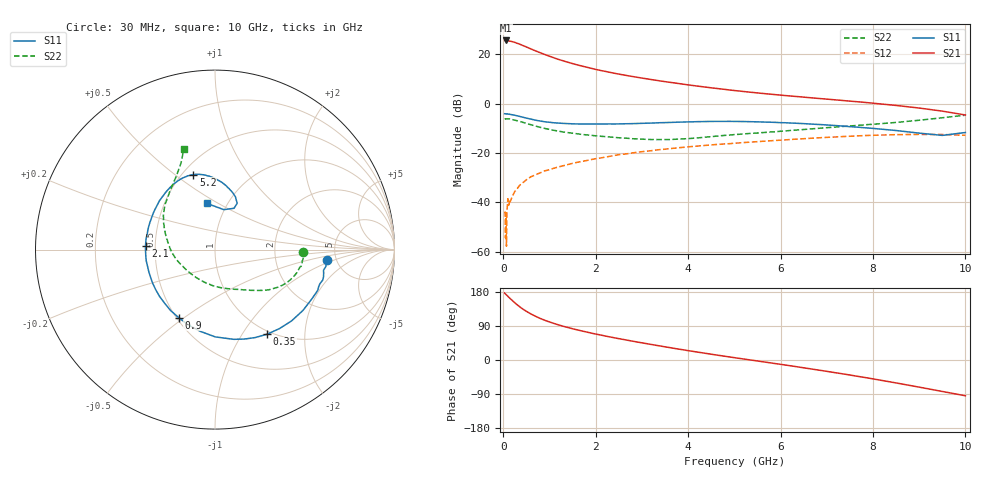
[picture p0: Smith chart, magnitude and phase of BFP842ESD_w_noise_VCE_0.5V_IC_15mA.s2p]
! Infineon Technologies  Discrete & RF Semiconductors
! BFP842ESD
! VCE =  0.5 V,  IC =  15 mA
! Common Emitter S-Parameters:  May 2012
# GHz  S  MA  R  50
!  f  S11  S21  S12  S22
! GHz  MAG  ANG  MAG  ANG  MAG  ANG  MAG  ANG
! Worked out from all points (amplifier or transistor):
!   99 points, 30 MHz to 10 GHz, reference 50 ohm
!   highest |S21| = 25.6 dB at 60 MHz (marker M1)
!   |S21| within 3 dB of that: start of sweep to 546.2 MHz
!   unconditionally stable (mu >= 1): start of sweep to 278.4 MHz; 1.029 GHz to end of sweep
!   at 350 MHz: K = 0.91, MSG = 28.7 dB, |S12| = -33.2 dB
!   at 3.5 GHz: K = 1.31, MAG = 10.3 dB, |S12| = -18.4 dB
!   at 10 GHz: K = 2.21, MAG = -2.1 dB, |S12| = -12.8 dB
!   lowest NFmin = 0.71 dB at 450 MHz
!   S11 on the Smith chart (normalised r, x): 30 MHz: 4.18, -0.81; 350 MHz: 0.96, -1.30; 900 MHz: 0.51, -0.48; 2.1 GHz: 0.44, +0.02; 5.2 GHz: 0.57, +0.58; 10 GHz: 0.81, +0.44
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0.03  0.6257 -5.4  19.02 176.8  0.0062 26.4  0.4914 -1.3
0.05  0.6247 -8.7  18.81 174.1  0.0019 34.0  0.4879 -3.6
0.06  0.6154 -10.8  19.07 172.8  0.0061 6.3  0.4939 -4.7
0.07  0.6193 -12.2  18.86 171.9  0.0013 24.7  0.4933 -4.4
0.08  0.6235 -14.1  18.88 170.4  0.0066 54.9  0.4936 -5.5
0.1  0.6146 -18.0  18.74 168.4  0.0119 63.9  0.4901 -7.4
0.2  0.5958 -34.7  17.99 156.6  0.0135 61.5  0.4747 -15.5
0.25  0.5828 -43.0  17.46 151.1  0.0166 56.2  0.4639 -18.8
0.35  0.5537 -58.3  16.14 141.1  0.0219 60.4  0.4393 -25.1
0.5  0.5107 -78.2  14.11 128.5  0.0287 57.9  0.3977 -32.6
0.6  0.4864 -89.8  12.83 121.5  0.0331 56.2  0.3742 -36.8
0.7  0.4628 -100.2  11.72 115.3  0.0363 55.7  0.3525 -40.1
0.9  0.4296 -118.2  9.902 104.8  0.0436 53.3  0.3152 -46.1
1.2  0.4042 -139.9  7.863 92.5  0.0525 51.1  0.2778 -54.0
1.7  0.3871 -166.6  5.785 76.7  0.0677 46.6  0.2382 -66.6
2.1  0.3876 177.2  4.72 66.1  0.0793 42.6  0.2192 -77.8
3.4  0.4119 138.9  2.886 36.9  0.1177 27.5  0.1876 -122.6
5.1  0.4358 107.4  1.807 4.4  0.1603 5.2  0.2397 -176.2
5.2  0.4351 106.1  1.765 2.7  0.1631 3.9  0.2442 -178.3
6.7  0.3848 86.7  1.307 -24.3  0.2004 -18.1  0.3108 155.9
8.5  0.2859 64.4  0.921 -60.5  0.2359 -53.0  0.4169 126.4
10  0.2607 99.7  0.59 -94.4  0.2289 -90.5  0.5848 107.3
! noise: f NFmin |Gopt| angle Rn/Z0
0.45  0.71  0.03  -24  0.09
0.9  0.71  0.02  -61  0.08
1.5  0.73  0.03  -97  0.08
1.9  0.73  0.04  -116  0.08
2.4  0.73  0.06  -122  0.08
3.5  0.8  0.08  -128  0.08
4  0.83  0.09  -124  0.09
5  0.9  0.13  -112  0.09
5.5  1.01  0.15  -109  0.1
6  1.11  0.15  -106  0.11
